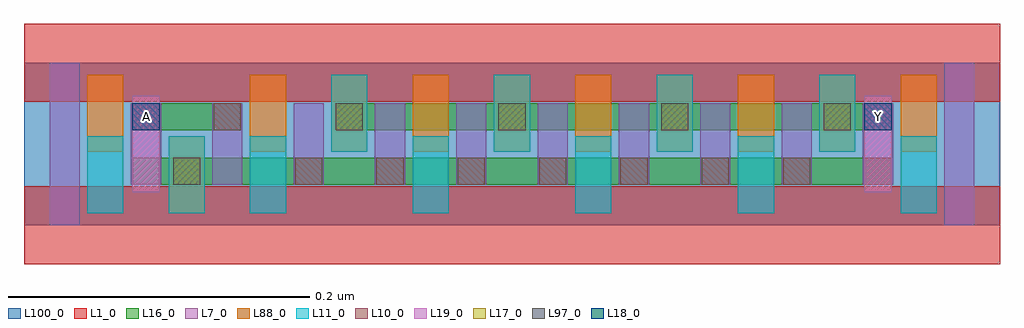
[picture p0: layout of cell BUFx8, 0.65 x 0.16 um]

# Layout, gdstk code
import gdstk
lib = gdstk.Library(unit=1e-6, precision=2.5e-10)
def R(c, l, rs):  # rectangles x0, y0, x1, y1
    for r in rs: c.add(gdstk.rectangle(r[:2], r[2:], *l))
def A(c, l, x, y, w, h, nx, ny, dx, dy):  # array of equal rectangles
    R(c, l, [(x+i*dx, y+j*dy, x+i*dx+w, y+j*dy+h) for i in range(nx) for j in range(ny)])
L1_0 = (1, 0)
L7_0 = (7, 0)
L10_0 = (10, 0)
L11_0 = (11, 0)
L16_0 = (16, 0)
L17_0 = (17, 0)
L18_0 = (18, 0)
L19_0 = (19, 0)
L88_0 = (88, 0)
L97_0 = (97, 0)
L100_0 = (100, 0)

bufx8 = lib.new_cell('BUFx8')
R(bufx8, L1_0, [(0,-0.026,0.648,0.026), (0,0.082,0.648,0.134)])
A(bufx8, L7_0, 0.071, 0.027, 0.02, 0.054, 10, 1, 0.054, 0)
R(bufx8, L7_0, [(0.017,0,0.037,0.108), (0.611,0,0.631,0.108)])
A(bufx8, L10_0, 0.18, 0.027, 0.018, 0.018, 8, 1, 0.054, 0)
R(bufx8, L10_0, [(0.072,0.063,0.09,0.081), (0.126,0.063,0.144,0.081)])
A(bufx8, L11_0, 0.042, 0.008, 0.024, 0.051, 3, 1, 0.054, 0)
A(bufx8, L11_0, 0.258, 0.008, 0.024, 0.051, 4, 1, 0.108, 0)
A(bufx8, L11_0, 0.204, 0.049, 0.024, 0.051, 4, 1, 0.108, 0)
R(bufx8, L16_0, [(0.072,0.027,0.576,0.045), (0.072,0.063,0.144,0.081), (0.207,0.063,0.576,0.081)])
A(bufx8, L17_0, 0.207, 0.063, 0.018, 0.018, 4, 1, 0.108, 0)
R(bufx8, L17_0, [(0.099,0.027,0.117,0.045)])
R(bufx8, L18_0, [(0.072,0.063,0.09,0.081), (0.558,0.063,0.576,0.081)])
R(bufx8, L19_0, [(0.072,0.022,0.09,0.086), (0.558,0.022,0.576,0.086)])
A(bufx8, L88_0, 0.15, 0.049, 0.024, 0.051, 9, 1, 0.054, 0)
R(bufx8, L88_0, [(0.096,0.008,0.12,0.059), (0.042,0.049,0.066,0.1)])
A(bufx8, L97_0, 0.207, 0.063, 0.018, 0.018, 4, 1, 0.108, 0)
R(bufx8, L97_0, [(0.099,0.027,0.117,0.045)])
R(bufx8, L100_0, [(0,0,0.648,0.108)])
bufx8.add(gdstk.Label('A', (0.081,0.072), layer=19, texttype=251))
bufx8.add(gdstk.Label('Y', (0.567,0.072), layer=19, texttype=251))

lib.write_gds('BUFx8.gds')
